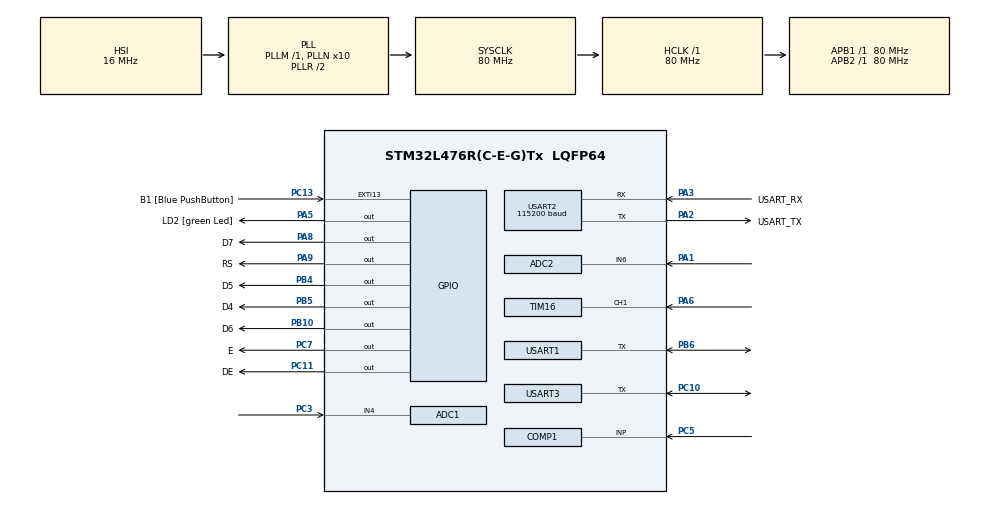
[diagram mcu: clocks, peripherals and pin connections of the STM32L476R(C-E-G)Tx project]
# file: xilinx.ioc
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ADC1.Channel-0\#ChannelRegularConversion=ADC_CHANNEL_4
ADC1.ClockPrescaler=ADC_CLOCK_ASYNC_DIV64
ADC1.ContinuousConvMode=ENABLE
ADC1.DMAContinuousRequests=ENABLE
ADC1.NbrOfConversionFlag=1
ADC1.OffsetNumber-0\#ChannelRegularConversion=ADC_OFFSET_NONE
ADC1.Rank-0\#ChannelRegularConversion=1
ADC1.SamplingTime-0\#ChannelRegularConversion=ADC_SAMPLETIME_247CYCLES_5
ADC1.master=1
ADC2.Channel-0\#ChannelRegularConversion=ADC_CHANNEL_6
ADC2.ClockPrescaler=ADC_CLOCK_ASYNC_DIV64
ADC2.ContinuousConvMode=ENABLE
ADC2.NbrOfConversionFlag=1
ADC2.OffsetNumber-0\#ChannelRegularConversion=ADC_OFFSET_NONE
ADC2.Rank-0\#ChannelRegularConversion=1
ADC2.SamplingTime-0\#ChannelRegularConversion=ADC_SAMPLETIME_2CYCLES_5
COMP1.Hysteresis=COMP_HYSTERESIS_HIGH
COMP1.TriggerMode=COMP_TRIGGERMODE_IT_RISING
Dma.ADC1.0.Direction=DMA_PERIPH_TO_MEMORY
Dma.ADC1.0.Instance=DMA1_Channel1
Dma.ADC1.0.MemDataAlignment=DMA_MDATAALIGN_WORD
Dma.ADC1.0.MemInc=DMA_MINC_ENABLE
Dma.ADC1.0.Mode=DMA_NORMAL
Dma.ADC1.0.PeriphDataAlignment=DMA_PDATAALIGN_WORD
Dma.ADC1.0.PeriphInc=DMA_PINC_DISABLE
Dma.ADC1.0.Priority=DMA_PRIORITY_LOW
Dma.Request0=ADC1
Mcu.Family=STM32L4
Mcu.Name=STM32L476R(C-E-G)Tx
Mcu.Package=LQFP64
NVIC.COMP_IRQn=true\:0\:0\:false\:false\:true\:false\:true\:true
NVIC.DMA1_Channel1_IRQn=true\:0\:0\:false\:false\:true\:false\:true\:true
NVIC.PriorityGroup=NVIC_PRIORITYGROUP_4
NVIC.TIM1_UP_TIM16_IRQn=true\:0\:0\:false\:false\:true\:true\:true\:true
PA1.Signal=ADCx_IN6
PA13\ (JTMS-SWDIO).GPIO_Label=TMS
PA13\ (JTMS-SWDIO).Mode=Serial_Wire
PA13\ (JTMS-SWDIO).Signal=SYS_JTMS-SWDIO
PA14\ (JTCK-SWCLK).GPIO_Label=TCK
PA14\ (JTCK-SWCLK).Mode=Serial_Wire
PA14\ (JTCK-SWCLK).Signal=SYS_JTCK-SWCLK
PA2.GPIO_Label=USART_TX
PA2.GPIO_Mode=GPIO_MODE_AF_PP
PA2.GPIO_PuPd=GPIO_NOPULL
PA2.GPIO_Speed=GPIO_SPEED_FREQ_VERY_HIGH
PA2.Mode=Asynchronous
PA2.Signal=USART2_TX
PA3.GPIO_Label=USART_RX
PA3.GPIO_Mode=GPIO_MODE_AF_PP
PA3.GPIO_PuPd=GPIO_NOPULL
PA3.GPIO_Speed=GPIO_SPEED_FREQ_VERY_HIGH
PA3.Mode=Asynchronous
PA3.Signal=USART2_RX
PA5.GPIO_Label=LD2 [green Led]
PA5.GPIO_ModeDefaultOutputPP=GPIO_MODE_OUTPUT_PP
PA5.GPIO_PuPd=GPIO_NOPULL
PA5.GPIO_Speed=GPIO_SPEED_FREQ_LOW
PA5.Signal=GPIO_Output
PA6.Signal=S_TIM16_CH1
PA8.GPIO_Label=D7
PA8.Signal=GPIO_Output
PA9.GPIO_Label=RS
PA9.Signal=GPIO_Output
PB10.GPIO_Label=D6
PB10.Signal=GPIO_Output
PB3\ (JTDO-TRACESWO).GPIO_Label=SWO
PB3\ (JTDO-TRACESWO).Signal=SYS_JTDO-SWO
PB4\ (NJTRST).GPIO_Label=D5
PB4\ (NJTRST).Signal=GPIO_Output
PB5.GPIO_Label=D4
PB5.Signal=GPIO_Output
PB6.Mode=Half_duplex(single_wire_mode)
PB6.Signal=USART1_TX
PC10.Mode=Half_duplex(single_wire_mode)
PC10.Signal=USART3_TX
PC11.GPIO_Label=DE
PC11.Signal=GPIO_Output
PC13.GPIO_Label=B1 [Blue PushButton]
PC13.GPIO_ModeDefaultEXTI=GPIO_MODE_IT_FALLING
PC13.GPIO_PuPd=GPIO_NOPULL
PC13.Signal=GPXTI13
PC14-OSC32_IN\ (PC14).Mode=LSE-External-Oscillator
PC14-OSC32_IN\ (PC14).Signal=RCC_OSC32_IN
PC15-OSC32_OUT\ (PC15).Mode=LSE-External-Oscillator
PC15-OSC32_OUT\ (PC15).Signal=RCC_OSC32_OUT
PC3.Signal=ADCx_IN4
PC5.Mode=INP
PC5.Signal=COMP1_INP
PC7.GPIO_Label=E
PC7.Signal=GPIO_Output
PH0-OSC_IN\ (PH0).Signal=RCC_OSC_IN
PH1-OSC_OUT\ (PH1).Signal=RCC_OSC_OUT
ProjectManager.HeapSize=0x200
ProjectManager.StackSize=0x400
ProjectManager.TargetToolchain=STM32CubeIDE
RCC.ADCFreq_Value=64000000
RCC.AHBFreq_Value=80000000
RCC.APB1Freq_Value=80000000
RCC.APB1TimFreq_Value=80000000
RCC.APB2Freq_Value=80000000
RCC.APB2TimFreq_Value=80000000
RCC.CortexFreq_Value=80000000
RCC.HCLKFreq_Value=80000000
RCC.HSE_VALUE=8000000
RCC.HSI_VALUE=16000000
RCC.MSI_VALUE=4000000
RCC.PLLN=10
RCC.PLLSourceVirtual=RCC_PLLSOURCE_HSI
RCC.PREFETCH_ENABLE=1
RCC.SYSCLKFreq_VALUE=80000000
RCC.SYSCLKSource=RCC_SYSCLKSOURCE_PLLCLK
RCC.USBFreq_Value=64000000
RCC.VCOOutputFreq_Value=160000000
SH.ADCx_IN4.0=ADC1_IN4,IN4-Single-Ended
SH.ADCx_IN6.0=ADC2_IN6,IN6-Single-Ended
SH.S_TIM16_CH1.0=TIM16_CH1,Input_Capture1_from_TI1
TIM16.Channel=TIM_CHANNEL_1
TIM16.Prescaler=80-1
USART1.BaudRate=57600
USART1.Mode=MODE_TX_RX
USART1.VirtualMode-Half_duplex(single_wire_mode)=VM_ASYNC
USART2.BaudRate=115200
USART2.VirtualMode-Asynchronous=VM_ASYNC
USART3.BaudRate=57600
USART3.VirtualMode-Half_duplex(single_wire_mode)=VM_ASYNC
VP_COMP1_VS_VREFINT.Mode=VREFINT
VP_TIM16_VS_ClockSourceINT.Mode=Enable_Timer
board=NUCLEO-L476RG

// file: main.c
/* USER CODE BEGIN Header */
/**
  ******************************************************************************
  * @file           : main.c
  * @brief          : Main program body
  ******************************************************************************
  * @attention
  *
  * Copyright (c) 2024 STMicroelectronics.
  * All rights reserved.
  *
  * This software is licensed under terms that can be found in the LICENSE file
  * in the root directory of this software component.
  * If no LICENSE file comes with this software, it is provided AS-IS.
  *
  ******************************************************************************
  */
/* USER CODE END Header */
#include "main.h"

/* USER CODE BEGIN Includes */
#include <stdio.h>
#include <string.h>
#include "ADC.h"
#include "COMP.h"
#include "LCD.h"
#include "intToBcd.h"
#include "lcd16x2_v2.h"
/* USER CODE END Includes */

ADC_HandleTypeDef hadc1;
ADC_HandleTypeDef hadc2;
DMA_HandleTypeDef hdma_adc1;

COMP_HandleTypeDef hcomp1;

TIM_HandleTypeDef htim16;

UART_HandleTypeDef huart1;
UART_HandleTypeDef huart2;
UART_HandleTypeDef huart3;

/* USER CODE BEGIN PV */
int uart_buf_len3;
char uart_buf3[50];
/* USER CODE END PV */

void SystemClock_Config(void);
void PeriphCommonClock_Config(void);
static void MX_GPIO_Init(void);
static void MX_DMA_Init(void);
static void MX_USART2_UART_Init(void);
static void MX_ADC1_Init(void);
static void MX_ADC2_Init(void);
static void MX_COMP1_Init(void);
static void MX_TIM16_Init(void);
static void MX_USART1_UART_Init(void);
static void MX_USART3_UART_Init(void);

/* USER CODE BEGIN 0 */
void LCD_Init(){
    __HAL_RCC_GPIOA_CLK_ENABLE();
    GPIO_InitTypeDef pinconf;
    pinconf.Pin = GPIO_PIN_0;  // Correct GPIO pin assignment
    pinconf.Mode = GPIO_MODE_OUTPUT_PP;
    pinconf.Pull = GPIO_PULLDOWN;
    pinconf.Speed = GPIO_SPEED_FREQ_VERY_HIGH;
    HAL_GPIO_Init(GPIOA, &pinconf);

    HAL_NVIC_SetPriority(EXTI0_IRQn, 7, 0);
    HAL_NVIC_EnableIRQ(EXTI0_IRQn);
}
/* USER CODE END 0 */

int main(void)
{

  /* MCU Configuration--------------------------------------------------------*/

  /* Reset of all peripherals, Initializes the Flash interface and the Systick. */

	HAL_Init();

  /* Configure the system clock */
  SystemClock_Config();

  /* Configure the peripherals common clocks */
  PeriphCommonClock_Config();

  /* Initialize all configured peripherals */
  MX_GPIO_Init();
  MX_DMA_Init();
  MX_USART2_UART_Init();
  MX_ADC1_Init();
  MX_ADC2_Init();
  MX_COMP1_Init();
  MX_TIM16_Init();
  MX_USART1_UART_Init();
  MX_USART3_UART_Init();
  /* USER CODE BEGIN 2 */
  lcd16x2_init_4bits(GPIOA, RS_Pin, GPIOC, E_Pin,GPIOB, D4_Pin, GPIOB, D5_Pin, GPIOB, D6_Pin, GPIOA, D7_Pin);
  LCD_Init();
  /* USER CODE END 2 */

  /* Infinite loop */
  /* USER CODE BEGIN WHILE */
  while (1)
  {
//    /* USER CODE END WHILE */
//
//    /* USER CODE BEGIN 3 */
	  int method=2; //To ask the user to press the button.
	  chooseMethod(&hadc2, &huart2,&method);

	  //Start ADC-based system.
	  if(method==0){
		  ADC(&hadc1, &hadc2, &huart2,&huart3);
	  }

	  //Start comparator-based system.
	  if(method==1){
		  COMP(&hcomp1, &huart2, &htim16, &hadc2,&huart3);
	  }
  }
  /* USER CODE END 3 */
}

void SystemClock_Config(void)
{
  RCC_OscInitTypeDef RCC_OscInitStruct = {0};
  RCC_ClkInitTypeDef RCC_ClkInitStruct = {0};

  /** Configure the main internal regulator output voltage
  */
  if (HAL_PWREx_ControlVoltageScaling(PWR_REGULATOR_VOLTAGE_SCALE1) != HAL_OK)
  {
    Error_Handler();
  }

  /** Initializes the RCC Oscillators according to the specified parameters
  * in the RCC_OscInitTypeDef structure.
  */
  RCC_OscInitStruct.OscillatorType = RCC_OSCILLATORTYPE_HSI|RCC_OSCILLATORTYPE_LSI;
  RCC_OscInitStruct.HSIState = RCC_HSI_ON;
  RCC_OscInitStruct.HSICalibrationValue = RCC_HSICALIBRATION_DEFAULT;
  RCC_OscInitStruct.LSIState = RCC_LSI_ON;
  RCC_OscInitStruct.PLL.PLLState = RCC_PLL_ON;
  RCC_OscInitStruct.PLL.PLLSource = RCC_PLLSOURCE_HSI;
  RCC_OscInitStruct.PLL.PLLM = 1;
  RCC_OscInitStruct.PLL.PLLN = 10;
  RCC_OscInitStruct.PLL.PLLP = RCC_PLLP_DIV7;
  RCC_OscInitStruct.PLL.PLLQ = RCC_PLLQ_DIV2;
  RCC_OscInitStruct.PLL.PLLR = RCC_PLLR_DIV2;
  if (HAL_RCC_OscConfig(&RCC_OscInitStruct) != HAL_OK)
  {
    Error_Handler();
  }

  /** Initializes the CPU, AHB and APB buses clocks
  */
  RCC_ClkInitStruct.ClockType = RCC_CLOCKTYPE_HCLK|RCC_CLOCKTYPE_SYSCLK
                              |RCC_CLOCKTYPE_PCLK1|RCC_CLOCKTYPE_PCLK2;
  RCC_ClkInitStruct.SYSCLKSource = RCC_SYSCLKSOURCE_PLLCLK;
  RCC_ClkInitStruct.AHBCLKDivider = RCC_SYSCLK_DIV1;
  RCC_ClkInitStruct.APB1CLKDivider = RCC_HCLK_DIV1;
  RCC_ClkInitStruct.APB2CLKDivider = RCC_HCLK_DIV1;

  if (HAL_RCC_ClockConfig(&RCC_ClkInitStruct, FLASH_LATENCY_4) != HAL_OK)
  {
    Error_Handler();
  }
}

void PeriphCommonClock_Config(void)
{
  RCC_PeriphCLKInitTypeDef PeriphClkInit = {0};

  /** Initializes the peripherals clock
  */
  PeriphClkInit.PeriphClockSelection = RCC_PERIPHCLK_ADC;
  PeriphClkInit.AdcClockSelection = RCC_ADCCLKSOURCE_PLLSAI1;
  PeriphClkInit.PLLSAI1.PLLSAI1Source = RCC_PLLSOURCE_HSI;
  PeriphClkInit.PLLSAI1.PLLSAI1M = 1;
  PeriphClkInit.PLLSAI1.PLLSAI1N = 8;
  PeriphClkInit.PLLSAI1.PLLSAI1P = RCC_PLLP_DIV7;
  PeriphClkInit.PLLSAI1.PLLSAI1Q = RCC_PLLQ_DIV2;
  PeriphClkInit.PLLSAI1.PLLSAI1R = RCC_PLLR_DIV2;
  PeriphClkInit.PLLSAI1.PLLSAI1ClockOut = RCC_PLLSAI1_ADC1CLK;
  if (HAL_RCCEx_PeriphCLKConfig(&PeriphClkInit) != HAL_OK)
  {
    Error_Handler();
  }
}

static void MX_ADC1_Init(void)
{

  ADC_MultiModeTypeDef multimode = {0};
  ADC_ChannelConfTypeDef sConfig = {0};

  /** Common config
  */
  hadc1.Instance = ADC1;
  hadc1.Init.ClockPrescaler = ADC_CLOCK_ASYNC_DIV64;
  hadc1.Init.Resolution = ADC_RESOLUTION_12B;
  hadc1.Init.DataAlign = ADC_DATAALIGN_RIGHT;
  hadc1.Init.ScanConvMode = ADC_SCAN_DISABLE;
  hadc1.Init.EOCSelection = ADC_EOC_SINGLE_CONV;
  hadc1.Init.LowPowerAutoWait = DISABLE;
  hadc1.Init.ContinuousConvMode = ENABLE;
  hadc1.Init.NbrOfConversion = 1;
  hadc1.Init.DiscontinuousConvMode = DISABLE;
  hadc1.Init.ExternalTrigConv = ADC_SOFTWARE_START;
  hadc1.Init.ExternalTrigConvEdge = ADC_EXTERNALTRIGCONVEDGE_NONE;
  hadc1.Init.DMAContinuousRequests = ENABLE;
  hadc1.Init.Overrun = ADC_OVR_DATA_PRESERVED;
  hadc1.Init.OversamplingMode = DISABLE;
  if (HAL_ADC_Init(&hadc1) != HAL_OK)
  {
    Error_Handler();
  }

  /** Configure the ADC multi-mode
  */
  multimode.Mode = ADC_MODE_INDEPENDENT;
  if (HAL_ADCEx_MultiModeConfigChannel(&hadc1, &multimode) != HAL_OK)
  {
    Error_Handler();
  }

  /** Configure Regular Channel
  */
  sConfig.Channel = ADC_CHANNEL_4;
  sConfig.Rank = ADC_REGULAR_RANK_1;
  sConfig.SamplingTime = ADC_SAMPLETIME_247CYCLES_5;
  sConfig.SingleDiff = ADC_SINGLE_ENDED;
  sConfig.OffsetNumber = ADC_OFFSET_NONE;
  sConfig.Offset = 0;
  if (HAL_ADC_ConfigChannel(&hadc1, &sConfig) != HAL_OK)
  {
    Error_Handler();
  }

}

static void MX_ADC2_Init(void)
{

  ADC_ChannelConfTypeDef sConfig = {0};

  /** Common config
  */
  hadc2.Instance = ADC2;
  hadc2.Init.ClockPrescaler = ADC_CLOCK_ASYNC_DIV64;
  hadc2.Init.Resolution = ADC_RESOLUTION_12B;
  hadc2.Init.DataAlign = ADC_DATAALIGN_RIGHT;
  hadc2.Init.ScanConvMode = ADC_SCAN_DISABLE;
  hadc2.Init.EOCSelection = ADC_EOC_SINGLE_CONV;
  hadc2.Init.LowPowerAutoWait = DISABLE;
  hadc2.Init.ContinuousConvMode = ENABLE;
  hadc2.Init.NbrOfConversion = 1;
  hadc2.Init.DiscontinuousConvMode = DISABLE;
  hadc2.Init.ExternalTrigConv = ADC_SOFTWARE_START;
  hadc2.Init.ExternalTrigConvEdge = ADC_EXTERNALTRIGCONVEDGE_NONE;
  hadc2.Init.DMAContinuousRequests = DISABLE;
  hadc2.Init.Overrun = ADC_OVR_DATA_PRESERVED;
  hadc2.Init.OversamplingMode = DISABLE;
  if (HAL_ADC_Init(&hadc2) != HAL_OK)
  {
    Error_Handler();
  }

  /** Configure Regular Channel
  */
  sConfig.Channel = ADC_CHANNEL_6;
  sConfig.Rank = ADC_REGULAR_RANK_1;
  sConfig.SamplingTime = ADC_SAMPLETIME_2CYCLES_5;
  sConfig.SingleDiff = ADC_SINGLE_ENDED;
  sConfig.OffsetNumber = ADC_OFFSET_NONE;
  sConfig.Offset = 0;
  if (HAL_ADC_ConfigChannel(&hadc2, &sConfig) != HAL_OK)
  {
    Error_Handler();
  }

}

static void MX_COMP1_Init(void)
{

  hcomp1.Instance = COMP1;
  hcomp1.Init.InvertingInput = COMP_INPUT_MINUS_VREFINT;
  hcomp1.Init.NonInvertingInput = COMP_INPUT_PLUS_IO1;
  hcomp1.Init.OutputPol = COMP_OUTPUTPOL_NONINVERTED;
  hcomp1.Init.Hysteresis = COMP_HYSTERESIS_HIGH;
  hcomp1.Init.BlankingSrce = COMP_BLANKINGSRC_NONE;
  hcomp1.Init.Mode = COMP_POWERMODE_HIGHSPEED;
  hcomp1.Init.WindowMode = COMP_WINDOWMODE_DISABLE;
  hcomp1.Init.TriggerMode = COMP_TRIGGERMODE_IT_RISING;
  if (HAL_COMP_Init(&hcomp1) != HAL_OK)
  {
    Error_Handler();
  }

}

static void MX_TIM16_Init(void)
{

  TIM_IC_InitTypeDef sConfigIC = {0};

  htim16.Instance = TIM16;
  htim16.Init.Prescaler = 80-1;
  htim16.Init.CounterMode = TIM_COUNTERMODE_UP;
  htim16.Init.Period = 65535;
  htim16.Init.ClockDivision = TIM_CLOCKDIVISION_DIV1;
  htim16.Init.RepetitionCounter = 0;
  htim16.Init.AutoReloadPreload = TIM_AUTORELOAD_PRELOAD_DISABLE;
  if (HAL_TIM_Base_Init(&htim16) != HAL_OK)
  {
    Error_Handler();
  }
  if (HAL_TIM_IC_Init(&htim16) != HAL_OK)
  {
    Error_Handler();
  }
  sConfigIC.ICPolarity = TIM_INPUTCHANNELPOLARITY_RISING;
  sConfigIC.ICSelection = TIM_ICSELECTION_DIRECTTI;
  sConfigIC.ICPrescaler = TIM_ICPSC_DIV1;
  sConfigIC.ICFilter = 0;
  if (HAL_TIM_IC_ConfigChannel(&htim16, &sConfigIC, TIM_CHANNEL_1) != HAL_OK)
  {
    Error_Handler();
  }

}

static void MX_USART1_UART_Init(void)
{

  huart1.Instance = USART1;
  huart1.Init.BaudRate = 57600;
  huart1.Init.WordLength = UART_WORDLENGTH_8B;
  huart1.Init.StopBits = UART_STOPBITS_1;
  huart1.Init.Parity = UART_PARITY_NONE;
  huart1.Init.Mode = UART_MODE_TX_RX;
  huart1.Init.HwFlowCtl = UART_HWCONTROL_NONE;
  huart1.Init.OverSampling = UART_OVERSAMPLING_16;
  huart1.Init.OneBitSampling = UART_ONE_BIT_SAMPLE_DISABLE;
  huart1.AdvancedInit.AdvFeatureInit = UART_ADVFEATURE_NO_INIT;
  if (HAL_HalfDuplex_Init(&huart1) != HAL_OK)
  {
    Error_Handler();
  }

}

static void MX_USART2_UART_Init(void)
{

  huart2.Instance = USART2;
  huart2.Init.BaudRate = 115200;
  huart2.Init.WordLength = UART_WORDLENGTH_8B;
  huart2.Init.StopBits = UART_STOPBITS_1;
  huart2.Init.Parity = UART_PARITY_NONE;
  huart2.Init.Mode = UART_MODE_TX_RX;
  huart2.Init.HwFlowCtl = UART_HWCONTROL_NONE;
  huart2.Init.OverSampling = UART_OVERSAMPLING_16;
  huart2.Init.OneBitSampling = UART_ONE_BIT_SAMPLE_DISABLE;
  huart2.AdvancedInit.AdvFeatureInit = UART_ADVFEATURE_NO_INIT;
  if (HAL_UART_Init(&huart2) != HAL_OK)
  {
    Error_Handler();
  }

}

static void MX_USART3_UART_Init(void)
{

  huart3.Instance = USART3;
  huart3.Init.BaudRate = 57600;
  huart3.Init.WordLength = UART_WORDLENGTH_8B;
  huart3.Init.StopBits = UART_STOPBITS_1;
  huart3.Init.Parity = UART_PARITY_NONE;
  huart3.Init.Mode = UART_MODE_TX_RX;
  huart3.Init.HwFlowCtl = UART_HWCONTROL_NONE;
  huart3.Init.OverSampling = UART_OVERSAMPLING_16;
  huart3.Init.OneBitSampling = UART_ONE_BIT_SAMPLE_DISABLE;
  huart3.AdvancedInit.AdvFeatureInit = UART_ADVFEATURE_NO_INIT;
  if (HAL_HalfDuplex_Init(&huart3) != HAL_OK)
  {
    Error_Handler();
  }

}

static void MX_DMA_Init(void)
{

  /* DMA controller clock enable */
  __HAL_RCC_DMA1_CLK_ENABLE();

  /* DMA interrupt init */
  /* DMA1_Channel1_IRQn interrupt configuration */
  HAL_NVIC_SetPriority(DMA1_Channel1_IRQn, 0, 0);
  HAL_NVIC_EnableIRQ(DMA1_Channel1_IRQn);

}

static void MX_GPIO_Init(void)
{
  GPIO_InitTypeDef GPIO_InitStruct = {0};

  /* GPIO Ports Clock Enable */
  __HAL_RCC_GPIOC_CLK_ENABLE();
  __HAL_RCC_GPIOH_CLK_ENABLE();
  __HAL_RCC_GPIOA_CLK_ENABLE();
  __HAL_RCC_GPIOB_CLK_ENABLE();

  /*Configure GPIO pin Output Level */
  HAL_GPIO_WritePin(GPIOA, LD2_Pin|D7_Pin|RS_Pin, GPIO_PIN_RESET);

  /*Configure GPIO pin Output Level */
  HAL_GPIO_WritePin(GPIOB, D6_Pin|D5_Pin|D4_Pin, GPIO_PIN_RESET);

  /*Configure GPIO pin Output Level */
  HAL_GPIO_WritePin(GPIOC, E_Pin|DE_Pin, GPIO_PIN_RESET);

  /*Configure GPIO pin : B1_Pin */
  GPIO_InitStruct.Pin = B1_Pin;
  GPIO_InitStruct.Mode = GPIO_MODE_IT_FALLING;
  GPIO_InitStruct.Pull = GPIO_NOPULL;
  HAL_GPIO_Init(B1_GPIO_Port, &GPIO_InitStruct);

  /*Configure GPIO pins : LD2_Pin D7_Pin RS_Pin */
  GPIO_InitStruct.Pin = LD2_Pin|D7_Pin|RS_Pin;
  GPIO_InitStruct.Mode = GPIO_MODE_OUTPUT_PP;
  GPIO_InitStruct.Pull = GPIO_NOPULL;
  GPIO_InitStruct.Speed = GPIO_SPEED_FREQ_LOW;
  HAL_GPIO_Init(GPIOA, &GPIO_InitStruct);

  /*Configure GPIO pins : D6_Pin D5_Pin D4_Pin */
  GPIO_InitStruct.Pin = D6_Pin|D5_Pin|D4_Pin;
  GPIO_InitStruct.Mode = GPIO_MODE_OUTPUT_PP;
  GPIO_InitStruct.Pull = GPIO_NOPULL;
  GPIO_InitStruct.Speed = GPIO_SPEED_FREQ_LOW;
  HAL_GPIO_Init(GPIOB, &GPIO_InitStruct);

  /*Configure GPIO pins : E_Pin DE_Pin */
  GPIO_InitStruct.Pin = E_Pin|DE_Pin;
  GPIO_InitStruct.Mode = GPIO_MODE_OUTPUT_PP;
  GPIO_InitStruct.Pull = GPIO_NOPULL;
  GPIO_InitStruct.Speed = GPIO_SPEED_FREQ_LOW;
  HAL_GPIO_Init(GPIOC, &GPIO_InitStruct);

}

void Error_Handler(void)
{
  __disable_irq();
  while (1)
  {
  }
}
